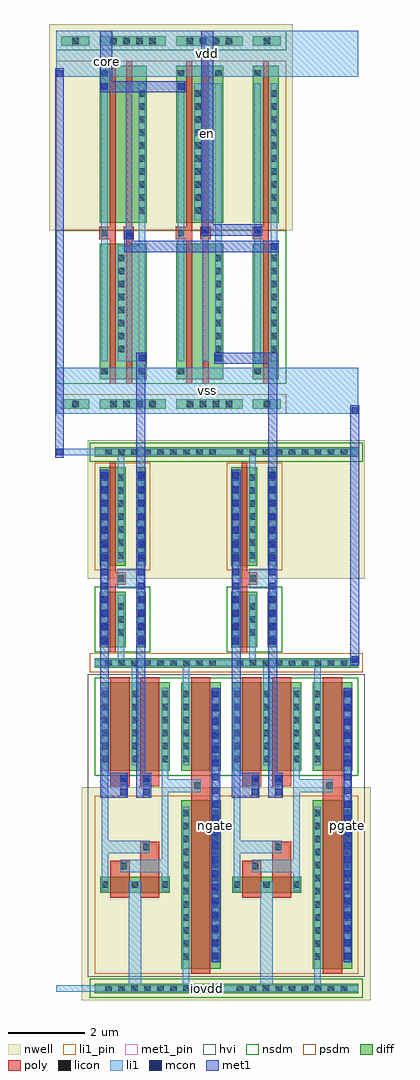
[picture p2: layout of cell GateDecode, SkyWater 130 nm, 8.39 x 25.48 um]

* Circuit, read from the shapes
.subckt GateDecode core en iovdd ngate pgate vdd vss
XM1 vss LevelUp_4/i n1 VSUBS sky130_fd_pr__nfet_01v8 w=1.46 l=0.15
XM2 LevelUp_4/i core vss VSUBS sky130_fd_pr__nfet_01v8 w=3.535 l=0.15
XM3 vss n1 n2 VSUBS sky130_fd_pr__nfet_g5v0d10v5 w=2.31 l=0.5
XM4 vss nor2_x1_1/i1 LevelUp_4/i VSUBS sky130_fd_pr__nfet_01v8 w=3.535 l=0.15
XM5 n3 LevelUp_4/i vss VSUBS sky130_fd_pr__nfet_g5v0d10v5 w=2.31 l=0.5
XM6 n4 core vss VSUBS sky130_fd_pr__nfet_01v8 w=3.535 l=0.15
XM7 ngate n3 vss VSUBS sky130_fd_pr__nfet_g5v0d10v5 w=2.31 l=0.5
XM8 LevelUp_5/i en n4 VSUBS sky130_fd_pr__nfet_01v8 w=3.535 l=0.15
XM9 vss LevelUp_5/i n5 VSUBS sky130_fd_pr__nfet_01v8 w=1.46 l=0.15
XM10 vss n5 n6 VSUBS sky130_fd_pr__nfet_g5v0d10v5 w=2.31 l=0.5
XM11 nor2_x1_1/i1 en vss VSUBS sky130_fd_pr__nfet_01v8 w=3.535 l=0.15
XM12 n7 LevelUp_5/i vss VSUBS sky130_fd_pr__nfet_g5v0d10v5 w=2.31 l=0.5
XM13 pgate n7 vss VSUBS sky130_fd_pr__nfet_g5v0d10v5 w=2.31 l=0.5
XM14 vdd LevelUp_4/i n1 n8 sky130_fd_pr__pfet_01v8 w=2.56 l=0.15
XM15 n9 core vdd n10 sky130_fd_pr__pfet_01v8 w=4.095 l=0.15
XM16 iovdd n3 n2 n11 sky130_fd_pr__pfet_g5v0d10v5 w=0.42 l=0.5
XM17 LevelUp_4/i nor2_x1_1/i1 n9 n10 sky130_fd_pr__pfet_01v8 w=4.095 l=0.15
XM18 n3 n2 iovdd n11 sky130_fd_pr__pfet_g5v0d10v5 w=0.42 l=0.5
XM19 LevelUp_5/i core vdd n10 sky130_fd_pr__pfet_01v8 w=4.095 l=0.15
XM20 ngate n3 iovdd n11 sky130_fd_pr__pfet_g5v0d10v5 w=4.4 l=0.5
XM21 vdd en LevelUp_5/i n10 sky130_fd_pr__pfet_01v8 w=4.095 l=0.15
XM22 vdd LevelUp_5/i n5 n8 sky130_fd_pr__pfet_01v8 w=2.56 l=0.15
XM23 iovdd n7 n6 n11 sky130_fd_pr__pfet_g5v0d10v5 w=0.42 l=0.5
XM24 nor2_x1_1/i1 en vdd n10 sky130_fd_pr__pfet_01v8 w=4.095 l=0.15
XM25 n7 n6 iovdd n11 sky130_fd_pr__pfet_g5v0d10v5 w=0.42 l=0.5
XM26 pgate n7 iovdd n11 sky130_fd_pr__pfet_g5v0d10v5 w=4.4 l=0.5
.ends

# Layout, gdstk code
import gdstk
lib = gdstk.Library(unit=1e-6, precision=1e-09)
def R(c, l, rs):  # rectangles x0, y0, x1, y1
    for r in rs: c.add(gdstk.rectangle(r[:2], r[2:], *l))
def A(c, l, x, y, w, h, nx, ny, dx, dy):  # array of equal rectangles
    R(c, l, [(x+i*dx, y+j*dy, x+i*dx+w, y+j*dy+h) for i in range(nx) for j in range(ny)])
def P(c, l, *ps):  # polygons
    for p in ps: c.add(gdstk.Polygon(p, *l))
nwell = (64, 20)
diff = (65, 20)
poly = (66, 20)
licon = (66, 44)
li1_pin = (67, 16)
li1 = (67, 20)
mcon = (67, 44)
met1_pin = (68, 16)
met1 = (68, 20)
hvi = (75, 20)
nsdm = (93, 44)
psdm = (94, 20)

tie = lib.new_cell('tie')
R(tie, nwell, [(-0.18,4.8,1.18,10.18), (-0.045,9.435,1.045,10.045), (0.115,9.435,0.885,10.045)])
R(tie, diff, [(0.135,0.135,0.865,0.385), (0.295,0.135,0.705,0.385), (0.135,9.615,0.865,9.865), (0.295,9.615,0.705,9.865)])
R(tie, licon, [(0.415,0.175,0.585,0.345), (0.415,9.655,0.585,9.825)])
R(tie, li1_pin, [(0,0,1,1.2), (0,8.8,1,10)])
R(tie, li1, [(0,0,1,1.2), (0.415,0.095,0.585,0.425), (0,8.8,1,10), (0.415,9.575,0.585,9.905)])
R(tie, nsdm, [(0,0.785,1,4.8), (0,9.49,1,9.99), (0,9.49,1,10), (0.16,9.49,0.84,9.99)])
R(tie, psdm, [(0,0,1,0.51), (0,0.01,1,0.51), (0.16,0.01,0.84,0.51), (0,4.8,1,9.215)])
tie.add(gdstk.Label('vdd', (0.5,9.4), layer=67, texttype=16))
tie.add(gdstk.Label('vss', (0.5,0.6), layer=67, texttype=16))

nor2_x1 = lib.new_cell('nor2_x1')
R(nor2_x1, nwell, [(-0.18,4.8,2.18,10.18), (-0.045,4.815,0.505,9.27), (-0.045,4.815,0.565,9.27), (-0.03,4.815,0.98,9.27), (0.375,4.815,1.005,9.27), (0.4,4.815,1.41,9.27), (0.445,4.815,0.935,9.27), (0.875,4.815,1.54,9.27), (0.93,4.815,1.54,9.27), (0.93,4.925,1.54,8.755), (-0.045,8.5,0.565,9.27), (-0.045,9.435,2.045,10.045), (0.105,9.435,1.895,10.045)])
R(nor2_x1, diff, [(0.135,0.135,1.865,0.385), (0.285,0.135,1.715,0.385), (0.135,0.91,0.385,4.445), (0.135,0.91,0.385,1.32), (0.135,0.91,0.325,4.445), (0.15,0.91,0.8,4.445), (0.565,0.91,0.815,4.445), (0.58,0.91,1.23,4.445), (0.625,0.91,0.755,4.445), (1.055,0.91,1.36,4.445), (1.11,0.91,1.36,4.445), (1.11,0.91,1.36,1.32), (0.565,1.485,0.815,4.275), (0.135,4.995,0.385,9.09), (0.135,4.995,0.325,9.09), (0.15,4.995,0.8,9.09), (0.555,4.995,0.825,9.09), (0.58,4.995,1.23,9.09), (0.625,4.995,0.755,9.09), (1.055,4.995,1.36,9.09), (1.11,4.995,1.36,9.09), (1.11,5.105,1.36,8.575), (0.135,8.68,0.385,9.09), (0.135,9.615,1.865,9.865), (0.285,9.615,1.715,9.865)])
R(nor2_x1, poly, [(0.4,0.78,0.55,4.575), (0.4,0.78,0.55,4.865), (0.83,0.78,0.98,4.575), (0.83,0.78,0.98,4.865), (0.125,4.555,0.395,4.885), (0.26,4.555,0.475,4.885), (0.76,4.555,1.03,4.885), (0.895,4.555,0.905,4.885), (0.4,4.865,0.55,9.22), (0.83,4.865,0.98,9.22)])
A(nor2_x1, licon, 0.405, 0.175, 0.17, 0.17, 4, 2, 0.34, 9.48)
A(nor2_x1, licon, 0.605, 1.605, 0.17, 0.17, 1, 8, 0, 0.34)
A(nor2_x1, licon, 1.15, 5.225, 0.17, 0.17, 1, 10, 0, 0.34)
R(nor2_x1, licon, [(0.175,1.03,0.345,1.2), (1.15,1.03,1.32,1.2), (0.175,4.635,0.345,4.805), (0.81,4.635,0.98,4.805), (0.175,8.8,0.345,8.97)])
R(nor2_x1, li1_pin, [(0,0,2,1.2), (0.175,1.37,0.345,8.63), (1.15,1.37,1.32,8.63), (0.81,4.555,0.98,8.63), (0,8.8,2,10)])
R(nor2_x1, li1, [(0,0,2,1.2), (0.405,0.095,1.595,0.425), (0.095,1.03,0.425,1.2), (1.07,1.03,1.4,1.2), (0.175,1.37,0.345,8.63), (0.605,1.37,0.775,4.385), (0.69,1.37,1.235,4.385), (1.15,1.37,1.32,8.63), (0.605,1.525,0.775,4.235), (1.15,4.055,1.32,4.385), (0.175,4.555,0.345,4.885), (0.81,4.555,0.98,4.885), (0.81,4.555,0.98,8.63), (1.15,5.055,1.32,8.63), (1.15,5.145,1.32,8.535), (0,8.8,2,10), (0.095,8.8,0.425,8.97), (0.405,9.575,1.595,9.905)])
R(nor2_x1, nsdm, [(0,0.785,2,4.8), (0.01,0.785,0.51,4.57), (0.01,0.785,0.45,4.57), (0.01,0.785,0.51,1.445), (0.025,0.785,0.925,4.57), (0.44,0.785,0.94,4.57), (0.455,0.785,1.355,4.57), (0.5,0.785,0.88,4.57), (0.93,0.785,1.485,4.57), (0.985,0.785,1.485,4.57), (0.985,0.785,1.485,1.445), (0.33,0.84,0.62,4.515), (0.76,0.84,1.05,4.515), (0.44,1.36,0.94,4.4), (0,9.49,2,10), (0,9.49,2,9.99), (0.15,9.49,1.85,9.99)])
R(nor2_x1, psdm, [(0,0,2,0.51), (0,0.01,2,0.51), (0.15,0.01,1.85,0.51), (0,4.8,2,9.215), (0.01,4.87,0.45,9.215), (0.01,4.87,0.51,9.215), (0.025,4.87,0.925,9.215), (0.43,4.87,0.95,9.215), (0.455,4.87,1.355,9.215), (0.5,4.87,0.88,9.215), (0.93,4.87,1.485,9.215), (0.985,4.87,1.485,9.215), (0.33,4.925,0.62,9.16), (0.76,4.925,1.05,9.16), (0.985,4.98,1.485,8.7), (0.01,8.555,0.51,9.215)])
nor2_x1.add(gdstk.Label('vss', (1,0.6), layer=67, texttype=16))
nor2_x1.add(gdstk.Label('vdd', (1,9.4), layer=67, texttype=16))
nor2_x1.add(gdstk.Label('nq', (1.235,5), layer=67, texttype=16))
nor2_x1.add(gdstk.Label('i0', (0.26,5), layer=67, texttype=16))
nor2_x1.add(gdstk.Label('i1', (0.895,6.593), layer=67, texttype=16))

nand2_x1 = lib.new_cell('nand2_x1')
R(nand2_x1, nwell, [(-0.18,4.8,2.18,10.18), (-0.045,4.815,0.505,9.27), (-0.045,4.815,0.565,9.27), (-0.03,4.815,0.98,9.27), (0.385,4.815,0.995,9.27), (0.4,4.815,1.41,9.27), (0.445,4.815,0.935,9.27), (0.875,4.815,1.54,9.27), (0.93,4.815,1.54,9.27), (0.385,4.925,0.995,8.755), (-0.045,8.5,0.565,9.27), (0.93,8.5,1.54,9.27), (-0.045,9.435,2.045,10.045), (0.105,9.435,1.895,10.045)])
R(nand2_x1, diff, [(0.135,0.135,1.865,0.385), (0.285,0.135,1.715,0.385), (0.135,0.91,0.385,1.32), (0.135,0.91,0.385,4.445), (0.135,0.91,0.325,4.445), (0.15,0.91,0.8,4.445), (0.555,0.91,0.825,4.445), (0.58,0.91,1.23,4.445), (0.625,0.91,0.755,4.445), (1.055,0.91,1.36,4.445), (1.11,0.91,1.36,4.445), (1.11,1.485,1.36,4.275), (0.135,4.995,0.385,9.09), (0.135,4.995,0.325,9.09), (0.15,4.995,0.8,9.09), (0.565,4.995,0.815,9.09), (0.58,4.995,1.23,9.09), (0.625,4.995,0.755,9.09), (1.055,4.995,1.36,9.09), (1.11,4.995,1.36,9.09), (0.565,5.105,0.815,8.575), (0.135,8.68,0.385,9.09), (1.11,8.68,1.36,9.09), (0.135,9.615,1.865,9.865), (0.285,9.615,1.715,9.865)])
R(nand2_x1, poly, [(0.4,0.78,0.55,4.575), (0.4,0.78,0.55,4.865), (0.83,0.78,0.98,4.575), (0.83,0.78,0.98,4.865), (0.125,4.555,0.395,4.885), (0.26,4.555,0.475,4.885), (0.76,4.555,1.03,4.885), (0.895,4.555,0.905,4.885), (0.4,4.865,0.55,9.22), (0.83,4.865,0.98,9.22)])
A(nand2_x1, licon, 0.405, 0.175, 0.17, 0.17, 4, 2, 0.34, 9.48)
A(nand2_x1, licon, 1.15, 1.605, 0.17, 0.17, 1, 8, 0, 0.34)
A(nand2_x1, licon, 0.605, 5.225, 0.17, 0.17, 1, 10, 0, 0.34)
R(nand2_x1, licon, [(0.175,1.03,0.345,1.2), (0.175,4.635,0.345,4.805), (0.81,4.635,0.98,4.805), (0.175,8.8,0.345,8.97), (1.15,8.8,1.32,8.97)])
R(nand2_x1, li1_pin, [(0,0,2,1.2), (0.175,1.37,0.345,8.63), (0.81,1.37,0.98,4.885), (1.15,1.37,1.32,8.63), (0,8.8,2,10)])
R(nand2_x1, li1, [(0,0,2,1.2), (0.405,0.095,1.595,0.425), (0.095,1.03,0.425,1.2), (0.175,1.37,0.345,8.63), (0.81,1.37,0.98,4.885), (1.15,1.37,1.32,8.63), (1.15,1.37,1.32,4.385), (1.15,1.525,1.32,4.235), (0.175,4.555,0.345,4.885), (0.81,4.555,0.98,4.885), (0.605,5.055,0.775,8.63), (0.69,5.055,1.235,8.63), (1.15,5.055,1.32,5.385), (0.605,5.145,0.775,8.535), (0,8.8,2,10), (0.095,8.8,0.425,8.97), (1.07,8.8,1.4,8.97), (0.405,9.575,1.595,9.905)])
R(nand2_x1, nsdm, [(0,0.785,2,4.8), (0.01,0.785,0.51,1.445), (0.01,0.785,0.45,4.57), (0.01,0.785,0.51,4.57), (0.025,0.785,0.925,4.57), (0.43,0.785,0.95,4.57), (0.455,0.785,1.355,4.57), (0.5,0.785,0.88,4.57), (0.93,0.785,1.485,4.57), (0.985,0.785,1.485,4.57), (0.33,0.84,0.62,4.515), (0.76,0.84,1.05,4.515), (0.985,1.36,1.485,4.4), (0,9.49,2,10), (0,9.49,2,9.99), (0.15,9.49,1.85,9.99)])
R(nand2_x1, psdm, [(0,0,2,0.51), (0,0.01,2,0.51), (0.15,0.01,1.85,0.51), (0,4.8,2,9.215), (0.01,4.87,0.51,9.215), (0.01,4.87,0.45,9.215), (0.025,4.87,0.925,9.215), (0.44,4.87,0.94,9.215), (0.455,4.87,1.355,9.215), (0.5,4.87,0.88,9.215), (0.93,4.87,1.485,9.215), (0.985,4.87,1.485,9.215), (0.33,4.925,0.62,9.16), (0.76,4.925,1.05,9.16), (0.44,4.98,0.94,8.7), (0.01,8.555,0.51,9.215), (0.985,8.555,1.485,9.215)])
nand2_x1.add(gdstk.Label('vss', (1,0.6), layer=67, texttype=16))
nand2_x1.add(gdstk.Label('vdd', (1,9.4), layer=67, texttype=16))
nand2_x1.add(gdstk.Label('i0', (0.26,5), layer=67, texttype=16))
nand2_x1.add(gdstk.Label('nq', (1.235,5), layer=67, texttype=16))
nand2_x1.add(gdstk.Label('i1', (0.895,3.128), layer=67, texttype=16))

inv_x1 = lib.new_cell('inv_x1')
R(inv_x1, nwell, [(-0.18,4.8,1.18,10.18), (-0.045,4.815,0.505,9.27), (-0.045,4.815,0.565,9.27), (-0.03,4.815,0.98,9.27), (0.385,4.815,0.995,9.27), (0.445,4.815,0.995,9.27), (0.385,4.925,0.995,8.755), (-0.045,8.5,0.565,9.27), (-0.045,9.435,1.045,10.045), (0.115,9.435,0.885,10.045)])
R(inv_x1, diff, [(0.135,0.135,0.865,0.385), (0.295,0.135,0.705,0.385), (0.135,0.91,0.385,1.32), (0.135,0.91,0.385,4.445), (0.135,0.91,0.325,4.445), (0.15,0.91,0.8,4.445), (0.565,0.91,0.815,4.445), (0.625,0.91,0.815,4.445), (0.565,1.485,0.815,4.275), (0.135,4.995,0.385,9.09), (0.135,4.995,0.325,9.09), (0.15,4.995,0.8,9.09), (0.565,4.995,0.815,9.09), (0.625,4.995,0.815,9.09), (0.565,5.105,0.815,8.575), (0.135,8.68,0.385,9.09), (0.135,9.615,0.865,9.865), (0.295,9.615,0.705,9.865)])
R(inv_x1, poly, [(0.4,0.78,0.55,4.575), (0.4,0.78,0.55,4.865), (0.125,4.555,0.395,4.885), (0.26,4.555,0.475,4.885), (0.4,4.865,0.55,9.22)])
A(inv_x1, licon, 0.605, 1.605, 0.17, 0.17, 1, 8, 0, 0.34)
A(inv_x1, licon, 0.605, 5.225, 0.17, 0.17, 1, 10, 0, 0.34)
R(inv_x1, licon, [(0.415,0.175,0.585,0.345), (0.175,1.03,0.345,1.2), (0.175,4.635,0.345,4.805), (0.175,8.8,0.345,8.97), (0.415,9.655,0.585,9.825)])
R(inv_x1, li1_pin, [(0,0,1,1.2), (0.175,1.37,0.345,8.63), (0.605,1.37,0.775,8.63), (0,8.8,1,10)])
R(inv_x1, li1, [(0,0,1,1.2), (0.415,0.095,0.585,0.425), (0.095,1.03,0.425,1.2), (0.175,1.37,0.345,8.63), (0.605,1.37,0.775,4.385), (0.605,1.37,0.775,8.63), (0.605,1.525,0.775,4.235), (0.175,4.555,0.345,4.885), (0.605,5.055,0.775,8.63), (0.605,5.145,0.775,8.535), (0,8.8,1,10), (0.095,8.8,0.425,8.97), (0.415,9.575,0.585,9.905)])
R(inv_x1, nsdm, [(0,0.785,1,4.8), (0.01,0.785,0.51,4.57), (0.01,0.785,0.51,1.445), (0.01,0.785,0.45,4.57), (0.025,0.785,0.925,4.57), (0.44,0.785,0.94,4.57), (0.5,0.785,0.94,4.57), (0.33,0.84,0.62,4.515), (0.44,1.36,0.94,4.4), (0,9.49,1,10), (0,9.49,1,9.99), (0.16,9.49,0.84,9.99)])
R(inv_x1, psdm, [(0,0,1,0.51), (0,0.01,1,0.51), (0.16,0.01,0.84,0.51), (0,4.8,1,9.215), (0.01,4.87,0.51,9.215), (0.01,4.87,0.45,9.215), (0.025,4.87,0.925,9.215), (0.44,4.87,0.94,9.215), (0.5,4.87,0.94,9.215), (0.33,4.925,0.62,9.16), (0.44,4.98,0.94,8.7), (0.01,8.555,0.51,9.215)])
inv_x1.add(gdstk.Label('vss', (0.5,0.6), layer=67, texttype=16))
inv_x1.add(gdstk.Label('vdd', (0.5,9.4), layer=67, texttype=16))
inv_x1.add(gdstk.Label('nq', (0.69,5), layer=67, texttype=16))
inv_x1.add(gdstk.Label('i', (0.26,5), layer=67, texttype=16))

levelup = lib.new_cell('LevelUp')
R(levelup, nwell, [(-0.33,-0.305,3.77,5.25), (-0.18,10.7,3.62,14.305)])
R(levelup, diff, [(0,-0.125,3.44,0.125), (2.26,0.505,3.29,4.905), (0.15,2.495,1.96,2.915), (0.15,5.68,1.18,7.99), (1.09,5.68,1.8,7.99), (1.71,5.68,1.96,7.99), (2.26,5.68,3.29,7.99), (0,8.375,3.44,8.625), (0.135,8.9,0.815,10.36), (1.085,8.9,1.335,10.36), (0.135,11.04,0.815,13.6), (1.085,11.04,1.335,13.6), (0,13.875,3.44,14.125)])
R(levelup, poly, [(2.525,0.375,3.025,8.12), (0.415,2.365,0.915,3.325), (0.415,2.365,0.915,3.045), (1.195,2.365,1.695,3.825), (1.195,3.555,1.525,3.825), (0.415,5.27,0.915,8.12), (0.585,5.27,0.915,5.54), (1.195,5.27,1.525,5.54), (1.195,5.27,1.695,8.12), (0.415,5.55,0.915,8.12), (1.195,5.55,1.695,8.12)])
P(levelup, poly, [(0.4,8.77),(0.4,13.73),(0.55,13.73),(0.55,10.865),(0.815,10.865),(0.815,10.535),(0.55,10.535),(0.55,8.77)])
A(levelup, licon, 0.275, -0.085, 0.17, 0.17, 9, 2, 0.34, 8.5)
A(levelup, licon, 2.3, 0.75, 0.17, 0.17, 1, 12, 0, 0.34)
A(levelup, licon, 3.08, 0.75, 0.17, 0.17, 1, 12, 0, 0.34)
A(levelup, licon, 0.19, 2.62, 0.17, 0.17, 3, 2, 0.78, 3.28)
A(levelup, licon, 2.3, 5.9, 0.17, 0.17, 1, 6, 0, 0.34)
A(levelup, licon, 3.08, 5.9, 0.17, 0.17, 1, 6, 0, 0.34)
A(levelup, licon, 0.19, 6.24, 0.17, 0.17, 3, 5, 0.78, 0.34)
A(levelup, licon, 0.175, 9.035, 0.17, 0.17, 1, 4, 0, 0.34)
A(levelup, licon, 1.125, 9.035, 0.17, 0.17, 1, 4, 0, 0.34)
A(levelup, licon, 0.605, 9.205, 0.17, 0.17, 1, 3, 0, 0.34)
A(levelup, licon, 0.175, 11.215, 0.17, 0.17, 1, 7, 0, 0.34)
A(levelup, licon, 0.605, 11.215, 0.17, 0.17, 1, 7, 0, 0.34)
A(levelup, licon, 1.125, 11.215, 0.17, 0.17, 1, 7, 0, 0.34)
A(levelup, licon, 0.275, 13.915, 0.17, 0.17, 9, 1, 0.34, 0)
R(levelup, licon, [(0.665,3.105,0.835,3.275), (1.275,3.605,1.445,3.775), (2.605,5.205,2.775,5.375), (0.665,5.32,0.835,5.49), (1.275,5.32,1.445,5.49), (0.595,10.615,0.765,10.785)])
R(levelup, li1_pin, [(0,-0.085,3.44,0.085), (0,8.415,3.44,8.585), (0,13.915,3.44,14.085)])
R(levelup, li1, [(3.08,0.67,3.25,7.85), (0.665,3.025,0.835,3.355), (1.275,3.525,1.445,3.855), (0.665,5.04,0.835,5.57), (1.275,5.04,1.445,5.57), (1.275,5.24,1.445,5.57), (0.175,8.955,0.345,13.505)])
P(levelup, li1, [(0.605,11.125),(0.605,13.915),(0,13.915),(0,14.085),(3.44,14.085),(3.44,13.915),(0.775,13.915),(0.775,11.125)],
  [(0.97,5.82),(0.97,8.415),(0,8.415),(0,8.585),(0.605,8.585),(0.605,10.275),(0.775,10.275),(0.775,8.585),(3.44,8.585),(3.44,8.415),(2.47,8.415),(2.47,5.82),(2.3,5.82),(2.3,8.415),(1.14,8.415),(1.14,5.82)],
  [(1.125,8.955),(1.125,10.445),(0.595,10.445),(0.595,10.955),(1.125,10.955),(1.125,13.505),(1.295,13.505),(1.295,8.955)],
  [(0.19,2.54),(0.19,7.85),(0.36,7.85),(0.36,3.855),(1.445,3.855),(1.445,3.525),(0.36,3.525),(0.36,2.54)],
  [(0,-0.085),(0,0.085),(0.89,0.085),(0.89,2.79),(1.22,2.79),(1.22,0.085),(2.3,0.085),(2.3,4.74),(2.47,4.74),(2.47,0.085),(3.44,0.085),(3.44,-0.085)],
  [(1.75,2.54),(1.75,3.025),(0.665,3.025),(0.665,3.355),(1.75,3.355),(1.75,7.85),(1.92,7.85),(1.92,5.455),(2.775,5.455),(2.775,5.125),(1.92,5.125),(1.92,2.54)])
A(levelup, mcon, 3.08, 0.755, 0.17, 0.17, 1, 20, 0, 0.36)
A(levelup, mcon, 0.175, 8.985, 0.17, 0.17, 1, 13, 0, 0.36)
A(levelup, mcon, 1.125, 8.985, 0.17, 0.17, 1, 13, 0, 0.36)
R(levelup, mcon, [(0.665,5.04,0.835,5.21), (1.275,5.04,1.445,5.21), (0.665,5.4,0.835,5.57), (1.275,5.4,1.445,5.57)])
R(levelup, met1_pin, [(3.05,0.695,3.28,7.825), (1.095,8.925,1.325,13.535)])
R(levelup, met1, [(3.05,0.695,3.28,7.825)])
P(levelup, met1, [(0.145,4.98),(0.145,13.535),(0.375,13.535),(0.375,5.63),(0.865,5.63),(0.865,4.98)],
  [(1.095,4.98),(1.095,13.535),(1.325,13.535),(1.325,5.63),(1.475,5.63),(1.475,4.98)])
R(levelup, hvi, [(-0.18,0.305,3.62,8.195)])
R(levelup, nsdm, [(-0.125,-0.25,3.565,0.25), (0,5.555,3.44,8.115), (0.01,8.775,1.46,10.485), (-0.125,13.75,3.565,14.25)])
R(levelup, psdm, [(0,0.38,3.44,5.03), (-0.125,8.25,3.565,8.75), (0.01,10.915,1.46,13.725)])
levelup.add(gdstk.Label('i', (1.21,11.23), layer=68, texttype=16))
levelup.add(gdstk.Label('o', (3.165,4.26), layer=68, texttype=16))
levelup.add(gdstk.Label('vdd', (1.72,14), layer=67, texttype=16))
levelup.add(gdstk.Label('vss', (1.72,8.5), layer=67, texttype=16))
levelup.add(gdstk.Label('iovdd', (1.72,0), layer=67, texttype=16))

gatedecode = lib.new_cell('GateDecode')
R(gatedecode, li1_pin, [(0,-15.085,7.88,-14.915), (0,0,7.88,1.2), (0,8.8,7.88,10)])
R(gatedecode, li1, [(0,-15.085,7.88,-14.915), (7.71,-6.5,7.88,-6.33), (0,-1.085,4.44,-0.915), (0,0,7.88,1.2), (2.15,1.37,2.32,1.54), (4.15,1.37,4.32,1.54), (5.605,4.285,5.775,4.455), (1.81,4.555,1.98,4.725), (3.81,4.715,3.98,4.885), (5.175,4.715,5.345,4.885), (1.175,8.46,1.345,8.63), (3.175,8.46,3.345,8.63), (0,8.8,7.88,10)])
R(gatedecode, mcon, [(7.71,-6.5,7.88,-6.33), (0,-1.085,0.17,-0.915), (7.71,0,7.88,0.17), (2.15,1.37,2.32,1.54), (4.15,1.37,4.32,1.54), (5.605,4.285,5.775,4.455), (1.81,4.555,1.98,4.725), (3.81,4.715,3.98,4.885), (5.175,4.715,5.345,4.885), (1.175,8.46,1.345,8.63), (3.175,8.46,3.345,8.63), (0,8.8,0.17,8.97)])
R(gatedecode, met1_pin, [(4.05,-14.305,4.28,-7.175), (7.49,-14.305,7.72,-7.175), (3.78,4.655,4.1,10), (1.145,8.4,1.465,10)])
R(gatedecode, met1, [(4.05,-14.305,4.28,-7.175), (7.49,-14.305,7.72,-7.175), (7.68,-6.56,7.91,0.23), (-0.03,-1.145,0.2,9.03)])
P(gatedecode, met1, [(3.78,4.655),(3.78,10),(4.1,10),(4.1,4.945),(5.375,4.945),(5.375,4.655)],
  [(1.145,8.4),(1.145,10),(1.465,10),(1.465,8.69),(3.375,8.69),(3.375,8.4)],
  [(1.78,4.225),(1.78,4.785),(2.01,4.785),(2.01,4.515),(5.805,4.515),(5.805,4.225)],
  [(2.095,-6.075),(2.095,1.6),(2.35,1.6),(2.35,1.31),(2.325,1.31),(2.325,-6.075)],
  [(5.535,-6.075),(5.535,1.31),(4.12,1.31),(4.12,1.6),(5.765,1.6),(5.765,-6.075)])
gatedecode.add(gdstk.Reference(tie, (0,0)))
gatedecode.add(gdstk.Reference(nor2_x1, (1,0)))
gatedecode.add(gdstk.Reference(nand2_x1, (3,0)))
gatedecode.add(gdstk.Reference(inv_x1, (5,0)))
gatedecode.add(gdstk.Reference(levelup, (1,-15)))
gatedecode.add(gdstk.Reference(levelup, (4.44,-15)))
gatedecode.add(gdstk.Label('en', (3.94,7.328), layer=68, texttype=16))
gatedecode.add(gdstk.Label('core', (1.305,9.2), layer=68, texttype=16))
gatedecode.add(gdstk.Label('ngate', (4.165,-10.74), layer=68, texttype=16))
gatedecode.add(gdstk.Label('pgate', (7.605,-10.74), layer=68, texttype=16))
gatedecode.add(gdstk.Label('vss', (3.94,0.6), layer=67, texttype=16))
gatedecode.add(gdstk.Label('vdd', (3.94,9.4), layer=67, texttype=16))
gatedecode.add(gdstk.Label('iovdd', (3.94,-15), layer=67, texttype=16))

lib.write_gds('GateDecode.gds')
